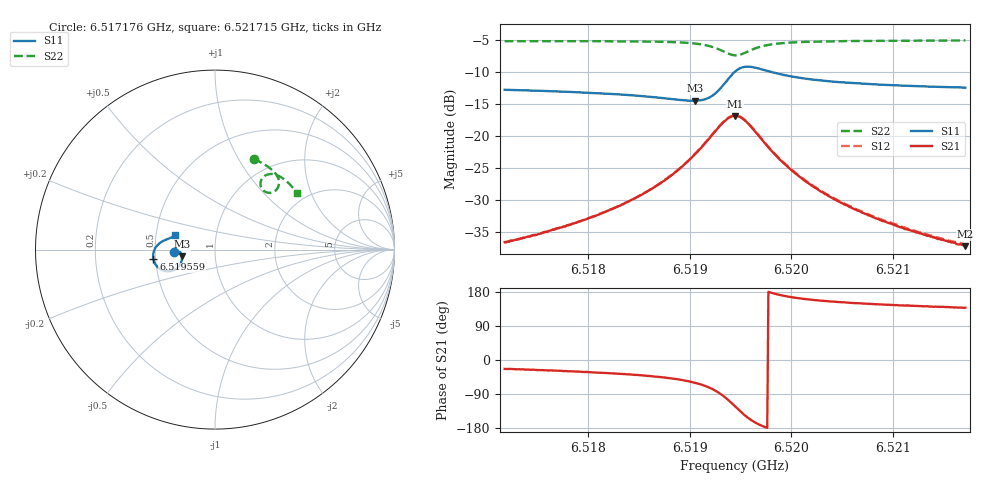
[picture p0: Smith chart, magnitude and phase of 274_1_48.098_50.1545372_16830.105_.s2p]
#  HZ  S  RI  R  50.00
! Rohde & Schwarz Vector Network Analyzer
! Rohde-Schwarz,ZNB20-2Port,1311601062101988,3.16
! Created: UTC 12/23/2023, 4:02:05 AM
! freq[Hz]  re:S11  im:S11  re:S21  im:S21  re:S12  im:S12  re:S22  im:S22
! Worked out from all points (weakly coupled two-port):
!   401 points, 6.517176 GHz to 6.521715 GHz, reference 50 ohm
!   highest |S21| = -16.85 dB at 6.519446 GHz (marker M1); lowest = -37.2 dB at 6.521715 GHz (marker M2)
!   lowest |S11| = -14.5 dB at 6.519048 GHz (marker M3), VSWR 1.46, Z = 34.3 - j2.61 ohm
!   |S11| at or under -10 dB: start of sweep to 6.519443 GHz; 6.519802 GHz to end of sweep
!   |S22| runs from -7.4 to -5.1 dB; largest |S21 - S12| = 0.0043
!   S11 on the Smith chart (normalised r, x): 6.517176 GHz: 0.63, -0.02; 6.519559 GHz: 0.49, -0.06; 6.521715 GHz: 0.63, +0.11
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6.5171759e9  -0.229 -0.0134  0.0137 -0.00593  0.0138 -0.00538  0.2157 0.5044
6.517505e9  -0.2252 -0.00878  0.0154 -0.00766  0.0157 -0.00721  0.2399 0.4936
6.5179363e9  -0.2188 -0.00401  0.0186 -0.0114  0.0191 -0.0108  0.2718 0.4769
6.5183335e9  -0.2103 -0.00278  0.0234 -0.0175  0.024 -0.0168  0.3015 0.4574
6.5186967e9  -0.1987 -0.00818  0.03 -0.0296  0.0311 -0.0288  0.3298 0.4324
6.5188896e9  -0.1908 -0.0185  0.0342 -0.0428  0.0357 -0.0418  0.3447 0.413
6.5190485e9  -0.1848 -0.0366  0.0359 -0.0619  0.0381 -0.0612  0.3548 0.3889
6.5191506e9  -0.1848 -0.057  0.0324 -0.0815  0.0351 -0.0812  0.3566 0.3672
6.5192301e9  -0.1923 -0.0795  0.0222 -0.1017  0.0254 -0.1018  0.351 0.3465
6.5193549e9  -0.2369 -0.1169  -0.0232 -0.131  -0.0196 -0.1328  0.3158 0.3176
6.5194003e9  -0.266 -0.1209  -0.0498 -0.1315  -0.0464 -0.134  0.2946 0.317
6.5194457e9  -0.297 -0.1132  -0.0768 -0.1214  -0.0738 -0.1245  0.274 0.3258
6.5195024e9  -0.328 -0.0877  -0.1015 -0.0957  -0.0995 -0.0994  0.257 0.3479
6.5195592e9  -0.3431 -0.0545  -0.111 -0.0651  -0.1102 -0.0688  0.2537 0.3731
6.5196727e9  -0.3371 -0.000261  -0.0999 -0.0196  -0.1002 -0.0226  0.2729 0.4077
6.5197862e9  -0.3173 0.0281  -0.0797 0.00169  -0.0805 -0.000725  0.2988 0.4197
6.5199905e9  -0.2885 0.0485  -0.0537 0.013  -0.0544 0.0116  0.3343 0.4183
6.5202061e9  -0.27 0.0565  -0.0381 0.0148  -0.039 0.0137  0.3598 0.4082
6.5205465e9  -0.2527 0.0629  -0.0254 0.0137  -0.026 0.0132  0.3888 0.3886
6.5209665e9  -0.24 0.069  -0.0173 0.0117  -0.0177 0.0115  0.4167 0.3637
6.5213183e9  -0.2321 0.0739  -0.0133 0.0105  -0.0139 0.0103  0.4366 0.342
6.5217155e9  -0.225 0.0791  -0.0103 0.00926  -0.0108 0.00925  0.4566 0.3175
